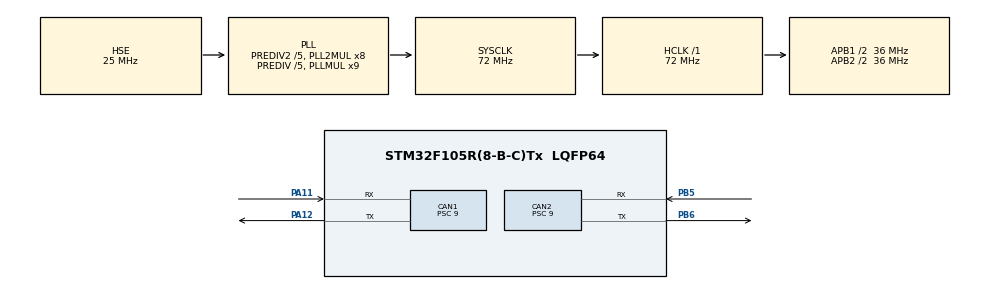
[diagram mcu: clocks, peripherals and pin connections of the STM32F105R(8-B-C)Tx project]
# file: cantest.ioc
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CAN1.BS1=CAN_BS1_6TQ
CAN1.CalculateTimeBit=2000
CAN1.CalculateTimeQuantum=250.0
CAN1.Prescaler=9
CAN2.BS1=CAN_BS1_6TQ
CAN2.CalculateTimeBit=2000
CAN2.CalculateTimeQuantum=250.0
CAN2.Prescaler=9
Mcu.Family=STM32F1
Mcu.Name=STM32F105R(8-B-C)Tx
Mcu.Package=LQFP64
NVIC.CAN1_RX0_IRQn=true\:2\:0\:true\:false\:true\:true\:true
NVIC.CAN2_RX1_IRQn=true\:4\:0\:true\:false\:true\:true\:true
NVIC.PriorityGroup=NVIC_PRIORITYGROUP_4
PA11.Mode=Master
PA11.Signal=CAN1_RX
PA12.Mode=Master
PA12.Signal=CAN1_TX
PB5.Mode=Slave
PB5.Signal=CAN2_RX
PB6.Mode=Slave
PB6.Signal=CAN2_TX
PD0-OSC_IN.Mode=HSE-External-Oscillator
PD0-OSC_IN.Signal=RCC_OSC_IN
PD1-OSC_OUT.Mode=HSE-External-Oscillator
PD1-OSC_OUT.Signal=RCC_OSC_OUT
ProjectManager.HeapSize=0x200
ProjectManager.StackSize=0x400
ProjectManager.TargetToolchain=STM32CubeIDE
RCC.AHBFreq_Value=72000000
RCC.APB1CLKDivider=RCC_HCLK_DIV2
RCC.APB1Freq_Value=36000000
RCC.APB1TimFreq_Value=72000000
RCC.APB2CLKDivider=RCC_HCLK_DIV2
RCC.APB2Freq_Value=36000000
RCC.APB2TimFreq_Value=72000000
RCC.HCLKFreq_Value=72000000
RCC.HSEDivPLL=RCC_HSE_PREDIV_DIV5
RCC.HSE_VALUE=25000000
RCC.PLLMUL=RCC_PLL_MUL9
RCC.PLLSourceVirtual=RCC_PLLSOURCE_HSE
RCC.Prediv1Source=RCC_PREDIV1_SOURCE_PLL2
RCC.Prediv2=RCC_HSE_PREDIV2_DIV5
RCC.SYSCLKFreq_VALUE=72000000
RCC.SYSCLKSource=RCC_SYSCLKSOURCE_PLLCLK
RCC.USBFreq_Value=48000000
TIM3.AutoReloadPreload=TIM_AUTORELOAD_PRELOAD_ENABLE
TIM3.ClockDivision=TIM_CLOCKDIVISION_DIV2
TIM3.Period=60000
TIM3.Prescaler=35999
VP_SYS_VS_ND.Mode=No_Debug
VP_TIM3_VS_ClockSourceINT.Mode=Internal
board=custom

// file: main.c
/* USER CODE BEGIN Header */
/**
  ******************************************************************************
  * @file           : main.c
  * @brief          : Main program body
  ******************************************************************************
  * @attention
  *
  * <h2><center>&copy; Copyright (c) 2020 STMicroelectronics.
  * All rights reserved.</center></h2>
  *
  * This software component is licensed by ST under BSD 3-Clause license,
  * the "License"; You may not use this file except in compliance with the
  * License. You may obtain a copy of the License at:
  *                        opensource.org/licenses/BSD-3-Clause
  *
  ******************************************************************************
  */
/* USER CODE END Header */
#include "main.h"

/* USER CODE BEGIN Includes */

#include <string.h>
#include <stdio.h>

CAN_HandleTypeDef hcan1;
CAN_HandleTypeDef hcan2;
TIM_HandleTypeDef htim3;

int block = 0;
uint16_t eon_detected_last = 0;
uint16_t id_transmitted_last = 0;
uint16_t startedtime = 0;
int onboot = 0;
int boot_done = 0;

/* USER CODE END Includes */

/* USER CODE BEGIN PTD */

void send_spoof_acc(void)
{

	CAN_TxHeaderTypeDef   TxHeader;
	uint8_t               TxData[8];
	uint32_t              TxMailbox;

	TxHeader.StdId = 0x343;
	TxHeader.ExtId = 0x01;
	TxHeader.RTR = CAN_RTR_DATA;
	TxHeader.IDE = CAN_ID_STD;
	TxHeader.DLC = 8;
	TxData[0] = 0x00;
	TxData[1] = 0x00;
	TxData[2] = 0x63;
	TxData[3] = 0xc0;
	TxData[4] = 0x00;
	TxData[5] = 0x00;
	TxData[6] = 0x00;
	TxData[7] = 0x71;

	if (HAL_CAN_GetTxMailboxesFreeLevel(&hcan1) != 0)
	{
		if (HAL_CAN_AddTxMessage(&hcan1, &TxHeader, TxData, &TxMailbox) != HAL_OK)
		{
			HAL_CAN_ResetError(&hcan1);
			Error_Handler();
		}
	}
}

void send_id(void)
{

	CAN_TxHeaderTypeDef   TxHeader;
	uint8_t               TxData[8];
	uint32_t              TxMailbox;

	TxHeader.StdId = 0x2FF;
	TxHeader.ExtId = 0x01;
	TxHeader.RTR = CAN_RTR_DATA;
	TxHeader.IDE = CAN_ID_STD;
	TxHeader.DLC = 4;
	TxData[0] = 0x00;
	TxData[1] = 0x00;
	TxData[2] = 0x00;
	TxData[3] = 0x00;

	if (HAL_CAN_GetTxMailboxesFreeLevel(&hcan1) != 0)
	{
		if (HAL_CAN_AddTxMessage(&hcan1, &TxHeader, TxData, &TxMailbox) != HAL_OK)
		{
			HAL_CAN_ResetError(&hcan1);
			Error_Handler();
		}
	}
}

void HAL_CAN_RxFifo0MsgPendingCallback(CAN_HandleTypeDef *hcan)
{
	CAN_TxHeaderTypeDef   TxHeader;
	CAN_RxHeaderTypeDef   RxHeader;
	uint8_t               TxData[8];
	uint8_t               RxData[8];
	uint32_t              TxMailbox;

	NVIC_DisableIRQ(CAN1_RX0_IRQn);
	NVIC_DisableIRQ(CAN2_RX1_IRQn);

	//printf("CAN1->CAN2\n\r");
	if(HAL_CAN_GetRxMessage(hcan,CAN_RX_FIFO0,&RxHeader,RxData) != HAL_OK)
	{
		//printf("FIFO0 - CAN 1 RX error\n\r");
		Error_Handler();
	}

	uint16_t ts = __HAL_TIM_GET_COUNTER(&htim3);
	uint16_t ts_elapsed;
	uint16_t id_elapsed;

	if(eon_detected_last>ts)
		ts_elapsed=60000-eon_detected_last+ts;
	else
		ts_elapsed=ts-eon_detected_last;

    if (ts_elapsed > 250)
    {
      block = 0;
      //printf("EON not detected for 250ms, unblocking\n\r");
    }

    if(RxHeader.StdId == 0x343)
    {
      block = 1;
      eon_detected_last = ts;
      //printf("EON detected, blocking\n\r");
    }

	if(id_transmitted_last>ts)
		id_elapsed=60000-id_transmitted_last+ts;
	else
		id_elapsed=ts-id_transmitted_last;

	if(id_elapsed>250)
	{
		send_id();
		id_transmitted_last=ts;
	}

	if (HAL_CAN_GetTxMailboxesFreeLevel(&hcan2) != 0) {
		memcpy(TxData, RxData, 8);
		TxHeader.DLC = RxHeader.DLC;
		TxHeader.StdId = RxHeader.StdId;
		TxHeader.RTR = CAN_RTR_DATA;
		TxHeader.IDE = CAN_ID_STD;

		if (HAL_CAN_AddTxMessage(&hcan2, &TxHeader, TxData, &TxMailbox) != HAL_OK)
		{
	   		//printf("FIFO0 - CAN2 TX error\n\r");
			HAL_CAN_ResetError(&hcan2);
			Error_Handler();
		}
	}
	NVIC_EnableIRQ(CAN1_RX0_IRQn);
	NVIC_EnableIRQ(CAN2_RX1_IRQn);
}

void HAL_CAN_RxFifo1MsgPendingCallback(CAN_HandleTypeDef *hcan)
{
	CAN_TxHeaderTypeDef   TxHeader;
	CAN_RxHeaderTypeDef   RxHeader;
	uint8_t               TxData[8];
	uint8_t               RxData[8];
	uint32_t              TxMailbox;

	NVIC_DisableIRQ(CAN1_RX0_IRQn);
	NVIC_DisableIRQ(CAN2_RX1_IRQn);
	//printf("CAN2->CAN1\n\r");
	if(HAL_CAN_GetRxMessage(hcan,CAN_RX_FIFO1,&RxHeader,RxData) != HAL_OK)
	{
		//printf("FIFO1 - CAN 2 RX error\n\r");
		Error_Handler();
	}

	uint16_t ts = __HAL_TIM_GET_COUNTER(&htim3);

    if(!onboot)
    {
      startedtime = ts;
      onboot = 1;
      //printf("Still booting\r\n");
    }

    if(!boot_done)
    {
    	boot_done = (ts > (startedtime + 2000));
    }

    if (!boot_done)
    {
      send_spoof_acc();
      //printf("Not booted yet, sending spoof ACC\n\r");
    }

    int blockmsg = (block | !boot_done) && (RxHeader.StdId == 0x343);

    if(!blockmsg){
    	if (HAL_CAN_GetTxMailboxesFreeLevel(&hcan1) != 0) {
    		memcpy(TxData, RxData, 8);
    		TxHeader.DLC = RxHeader.DLC;
    		TxHeader.StdId = RxHeader.StdId;
    		TxHeader.RTR = CAN_RTR_DATA;
    		TxHeader.IDE = CAN_ID_STD;

    		if (HAL_CAN_AddTxMessage(&hcan1, &TxHeader, TxData, &TxMailbox) != HAL_OK)
    		{
    			//printf("FIFO1 - CAN2 TX error\n\r");
    			HAL_CAN_ResetError(&hcan1);
				Error_Handler();
    		}
    	}
    }
	NVIC_EnableIRQ(CAN1_RX0_IRQn);
	NVIC_EnableIRQ(CAN2_RX1_IRQn);
}

/* USER CODE END PTD */

CAN_HandleTypeDef hcan1;
CAN_HandleTypeDef hcan2;

TIM_HandleTypeDef htim3;

void SystemClock_Config(void);
static void MX_GPIO_Init(void);
static void MX_CAN1_Init(void);
static void MX_CAN2_Init(void);
static void MX_TIM3_Init(void);

int main(void)
{

  /* MCU Configuration--------------------------------------------------------*/

  /* Reset of all peripherals, Initializes the Flash interface and the Systick. */
  HAL_Init();

  /* Configure the system clock */
  SystemClock_Config();

  /* Initialize all configured peripherals */
  MX_GPIO_Init();
  MX_CAN1_Init();
  MX_CAN2_Init();
  MX_TIM3_Init();
  /* USER CODE BEGIN 2 */

  HAL_TIM_Base_Start(&htim3);

  /* USER CODE END 2 */

  /* Infinite loop */
  while (1)
  {
	  HAL_Delay(100);
  }
}

void SystemClock_Config(void)
{
  RCC_OscInitTypeDef RCC_OscInitStruct = {0};
  RCC_ClkInitTypeDef RCC_ClkInitStruct = {0};

  /** Initializes the RCC Oscillators according to the specified parameters
  * in the RCC_OscInitTypeDef structure.
  */
  RCC_OscInitStruct.OscillatorType = RCC_OSCILLATORTYPE_HSE;
  RCC_OscInitStruct.HSEState = RCC_HSE_ON;
  RCC_OscInitStruct.HSEPredivValue = RCC_HSE_PREDIV_DIV5;
  RCC_OscInitStruct.HSIState = RCC_HSI_ON;
  RCC_OscInitStruct.Prediv1Source = RCC_PREDIV1_SOURCE_PLL2;
  RCC_OscInitStruct.PLL.PLLState = RCC_PLL_ON;
  RCC_OscInitStruct.PLL.PLLSource = RCC_PLLSOURCE_HSE;
  RCC_OscInitStruct.PLL.PLLMUL = RCC_PLL_MUL9;
  RCC_OscInitStruct.PLL2.PLL2State = RCC_PLL2_ON;
  RCC_OscInitStruct.PLL2.PLL2MUL = RCC_PLL2_MUL8;
  RCC_OscInitStruct.PLL2.HSEPrediv2Value = RCC_HSE_PREDIV2_DIV5;
  if (HAL_RCC_OscConfig(&RCC_OscInitStruct) != HAL_OK)
  {
    Error_Handler();
  }
  /** Initializes the CPU, AHB and APB buses clocks
  */
  RCC_ClkInitStruct.ClockType = RCC_CLOCKTYPE_HCLK|RCC_CLOCKTYPE_SYSCLK
                              |RCC_CLOCKTYPE_PCLK1|RCC_CLOCKTYPE_PCLK2;
  RCC_ClkInitStruct.SYSCLKSource = RCC_SYSCLKSOURCE_PLLCLK;
  RCC_ClkInitStruct.AHBCLKDivider = RCC_SYSCLK_DIV1;
  RCC_ClkInitStruct.APB1CLKDivider = RCC_HCLK_DIV2;
  RCC_ClkInitStruct.APB2CLKDivider = RCC_HCLK_DIV2;

  if (HAL_RCC_ClockConfig(&RCC_ClkInitStruct, FLASH_LATENCY_2) != HAL_OK)
  {
    Error_Handler();
  }
  /** Configure the Systick interrupt time
  */
  __HAL_RCC_PLLI2S_ENABLE();
}

static void MX_CAN1_Init(void)
{

  hcan1.Instance = CAN1;
  hcan1.Init.Prescaler = 9;
  hcan1.Init.Mode = CAN_MODE_NORMAL;
  hcan1.Init.SyncJumpWidth = CAN_SJW_1TQ;
  hcan1.Init.TimeSeg1 = CAN_BS1_6TQ;
  hcan1.Init.TimeSeg2 = CAN_BS2_1TQ;
  hcan1.Init.TimeTriggeredMode = DISABLE;
  hcan1.Init.AutoBusOff = DISABLE;
  hcan1.Init.AutoWakeUp = DISABLE;
  hcan1.Init.AutoRetransmission = DISABLE;
  hcan1.Init.ReceiveFifoLocked = DISABLE;
  hcan1.Init.TransmitFifoPriority = DISABLE;
  if (HAL_CAN_Init(&hcan1) != HAL_OK)
  {
    Error_Handler();
  }
  /* USER CODE BEGIN CAN1_Init 2 */
	CAN_FilterTypeDef sFilterConfig;
	sFilterConfig.FilterBank = 0; //ID 0-13 for CAN1, 14+ is CAN2
	sFilterConfig.FilterMode = CAN_FILTERMODE_IDMASK;
	sFilterConfig.FilterScale = CAN_FILTERSCALE_32BIT;
	sFilterConfig.FilterIdHigh = 0x0000;
	sFilterConfig.FilterIdLow = 0x0000;
	sFilterConfig.FilterMaskIdHigh = 0x0000;
	sFilterConfig.FilterMaskIdLow = 0x0000;
	sFilterConfig.FilterFIFOAssignment = CAN_RX_FIFO0;
	sFilterConfig.FilterActivation = ENABLE;
	sFilterConfig.SlaveStartFilterBank = 14;

	if (HAL_CAN_ConfigFilter(&hcan1, &sFilterConfig) != HAL_OK) {
		/* Filter configuration Error */
		//printf("CAN 1 filter initialization error\n\r");
		Error_Handler();
	}
	/*##-3- Start the CAN peripheral ###########################################*/
	if (HAL_CAN_Start(&hcan1) != HAL_OK) {
		/* Start Error */
		//printf("CAN 1 start error\n\r");
		Error_Handler();
	}
	if (HAL_CAN_ActivateNotification(&hcan1, CAN_IT_RX_FIFO0_MSG_PENDING) != HAL_OK)
{
    /* Notification Error */
		//printf("CAN 1 notification activation error\n\r");
	    Error_Handler();
	}
	hcan1.State = HAL_CAN_STATE_READY;

  /* USER CODE END CAN1_Init 2 */

}

static void MX_CAN2_Init(void)
{

  hcan2.Instance = CAN2;
  hcan2.Init.Prescaler = 9;
  hcan2.Init.Mode = CAN_MODE_NORMAL;
  hcan2.Init.SyncJumpWidth = CAN_SJW_1TQ;
  hcan2.Init.TimeSeg1 = CAN_BS1_6TQ;
  hcan2.Init.TimeSeg2 = CAN_BS2_1TQ;
  hcan2.Init.TimeTriggeredMode = DISABLE;
  hcan2.Init.AutoBusOff = DISABLE;
  hcan2.Init.AutoWakeUp = DISABLE;
  hcan2.Init.AutoRetransmission = DISABLE;
  hcan2.Init.ReceiveFifoLocked = DISABLE;
  hcan2.Init.TransmitFifoPriority = DISABLE;
  if (HAL_CAN_Init(&hcan2) != HAL_OK)
  {
    Error_Handler();
  }
  /* USER CODE BEGIN CAN2_Init 2 */
	CAN_FilterTypeDef sFilterConfig;
	sFilterConfig.FilterBank = 14; //ID 0-13 for CAN1, 14+ is CAN2
	sFilterConfig.FilterMode = CAN_FILTERMODE_IDMASK;
	sFilterConfig.FilterScale = CAN_FILTERSCALE_32BIT;
	sFilterConfig.FilterIdHigh = 0x0000;
	sFilterConfig.FilterIdLow = 0x0000;
	sFilterConfig.FilterMaskIdHigh = 0x0000;
	sFilterConfig.FilterMaskIdLow = 0x0000;
	sFilterConfig.FilterFIFOAssignment = CAN_RX_FIFO1;
	sFilterConfig.FilterActivation = ENABLE;
	sFilterConfig.SlaveStartFilterBank = 14;

	if (HAL_CAN_ConfigFilter(&hcan2, &sFilterConfig) != HAL_OK) {
		/* Filter configuration Error */
		 //printf("CAN 2 filter initialization error\n\r");
		 Error_Handler();

	}
	/* USER CODE BEGIN CAN2_Init 2 */
	if (HAL_CAN_Start(&hcan2) != HAL_OK) {
		/* Start Error */
		 //printf("CAN 2 start error\n\r");
		 Error_Handler();
	}
	if (HAL_CAN_ActivateNotification(&hcan2, CAN_IT_RX_FIFO1_MSG_PENDING) != HAL_OK)
	{
	  /* Notification Error */
		 //printf("CAN 2 notification activation error\n\r");
		 Error_Handler();
	}
	hcan2.State = HAL_CAN_STATE_READY;

  /* USER CODE END CAN2_Init 2 */

}

static void MX_TIM3_Init(void)
{

  TIM_ClockConfigTypeDef sClockSourceConfig = {0};
  TIM_MasterConfigTypeDef sMasterConfig = {0};

  htim3.Instance = TIM3;
  htim3.Init.Prescaler = 35999;
  htim3.Init.CounterMode = TIM_COUNTERMODE_UP;
  htim3.Init.Period = 60000;
  htim3.Init.ClockDivision = TIM_CLOCKDIVISION_DIV2;
  htim3.Init.AutoReloadPreload = TIM_AUTORELOAD_PRELOAD_ENABLE;
  if (HAL_TIM_Base_Init(&htim3) != HAL_OK)
  {
    Error_Handler();
  }
  sClockSourceConfig.ClockSource = TIM_CLOCKSOURCE_INTERNAL;
  if (HAL_TIM_ConfigClockSource(&htim3, &sClockSourceConfig) != HAL_OK)
  {
    Error_Handler();
  }
  sMasterConfig.MasterOutputTrigger = TIM_TRGO_RESET;
  sMasterConfig.MasterSlaveMode = TIM_MASTERSLAVEMODE_DISABLE;
  if (HAL_TIMEx_MasterConfigSynchronization(&htim3, &sMasterConfig) != HAL_OK)
  {
    Error_Handler();
  }

}

static void MX_GPIO_Init(void)
{

  /* GPIO Ports Clock Enable */
  __HAL_RCC_GPIOD_CLK_ENABLE();
  __HAL_RCC_GPIOA_CLK_ENABLE();
  __HAL_RCC_GPIOB_CLK_ENABLE();

}

void Error_Handler(void)
{
}

/************************ (C) COPYRIGHT STMicroelectronics *****END OF FILE****/
